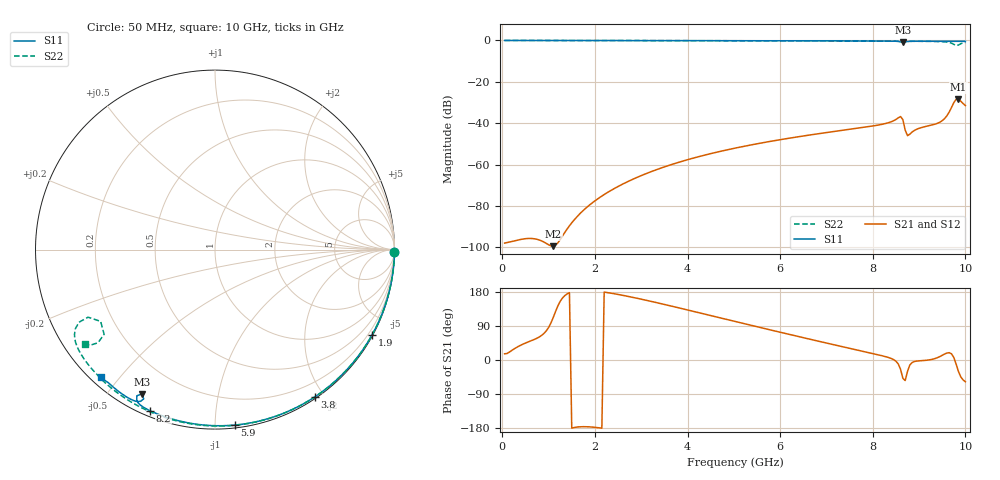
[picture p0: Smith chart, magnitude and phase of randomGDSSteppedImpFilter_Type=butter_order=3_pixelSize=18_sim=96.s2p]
! freq	dB(S11)	phase(S11)	dB(S12)	phase(S12)
!  dB(S21)	phase(S21)	dB(S22)	phase(S22)
!S-par simulation data
#  GHz  S  DB  R 50
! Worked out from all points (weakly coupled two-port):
!   200 points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, 50 MHz to 10 GHz, reference 50 ohm
!   highest |S21| = -28.36 dB at 9.85 GHz (marker M1); lowest = -99.4 dB at 1.1 GHz (marker M2)
!   lowest |S11| = -0.9 dB at 8.65 GHz (marker M3), VSWR 19.10, Z = 3.61 - j30.7 ohm
!   |S11| at or under -10 dB: nowhere
!   |S22| runs from -2.5 to 0.0 dB; largest |S21 - S12| = 0
!   S11 on the Smith chart (normalised r, x): 50 MHz: open; 1.9 GHz: 0.03, -3.92; 3.8 GHz: 0.02, -1.89; 5.9 GHz: 0.02, -1.12; 8.2 GHz: 0.02, -0.67; 10 GHz: 0.03, -0.45
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0.05  -0.00 -0.8  -97.94 16.4  -97.94 16.4  -0.00 -0.9
1.1  -0.02 -16.7  -99.42 112.0  -99.42 112.0  -0.02 -18.9
1.75  -0.03 -26.4  -82.13 -176.0  -82.13 -176.0  -0.04 -29.9
1.9  -0.04 -28.6  -79.24 -176.6  -79.24 -176.6  -0.04 -32.4
2.55  -0.05 -38.1  -69.98 171.9  -69.98 171.9  -0.06 -43.1
3.4  -0.07 -50.2  -61.88 149.5  -61.88 149.5  -0.08 -56.7
3.8  -0.08 -55.8  -58.95 137.9  -58.95 137.9  -0.09 -62.9
5.05  -0.11 -72.7  -51.93 101.0  -51.93 101.0  -0.13 -81.8
5.9  -0.14 -83.6  -48.34 76.1  -48.34 76.1  -0.16 -94.1
6.7  -0.18 -93.6  -45.49 53.2  -45.49 53.2  -0.20 -105.3
8.2  -0.28 -112.0  -40.53 11.2  -40.53 11.2  -0.31 -125.9
8.35  -0.31 -114.0  -39.68 6.1  -39.68 6.1  -0.33 -127.9
8.6  -0.69 -118.1  -36.78 -24.6  -36.78 -24.6  -0.35 -131.5
8.65  -0.91 -116.8  -38.26 -48.4  -38.26 -48.4  -0.37 -132.2
8.7  -0.71 -115.5  -43.34 -54.2  -43.34 -54.2  -0.38 -132.9
8.75  -0.53 -116.1  -46.03 -30.1  -46.03 -30.1  -0.38 -133.6
8.95  -0.38 -119.3  -42.90 -2.8  -42.90 -2.8  -0.40 -136.5
9.5  -0.41 -126.0  -38.77 12.4  -38.77 12.4  -0.59 -146.1
9.6  -0.43 -127.2  -36.41 18.4  -36.41 18.4  -0.77 -148.8
9.75  -0.44 -128.8  -30.06 6.7  -30.06 6.7  -1.92 -152.0
9.85  -0.42 -129.9  -28.36 -30.3  -28.36 -30.3  -2.19 -142.6
10  -0.43 -131.8  -31.47 -57.4  -31.47 -57.4  -0.96 -143.9
